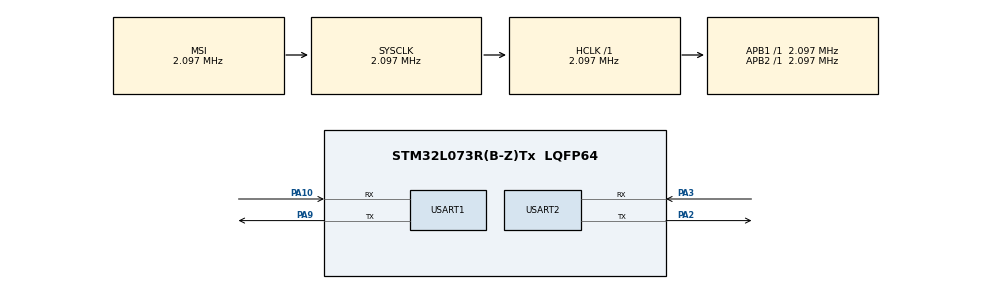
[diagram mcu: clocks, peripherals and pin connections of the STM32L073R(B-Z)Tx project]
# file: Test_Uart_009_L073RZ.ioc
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Mcu.Family=STM32L0
Mcu.Name=STM32L073R(B-Z)Tx
Mcu.Package=LQFP64
NVIC.RTC_IRQn=true\:0\:0\:false\:false\:true\:true\:true\:true
PA10.Mode=Asynchronous
PA10.Signal=USART1_RX
PA13.GPIO_Label=TMS
PA13.Mode=Serial_Wire
PA13.Signal=SYS_SWDIO
PA14.GPIO_Label=TCK
PA14.Mode=Serial_Wire
PA14.Signal=SYS_SWCLK
PA2.Mode=Asynchronous
PA2.Signal=USART2_TX
PA3.Mode=Asynchronous
PA3.Signal=USART2_RX
PA9.Mode=Asynchronous
PA9.Signal=USART1_TX
PC14-OSC32_IN.Mode=LSE-External-Oscillator
PC14-OSC32_IN.Signal=RCC_OSC32_IN
PC15-OSC32_OUT.Mode=LSE-External-Oscillator
PC15-OSC32_OUT.Signal=RCC_OSC32_OUT
PH0-OSC_IN.GPIO_Label=MCO
PH0-OSC_IN.Signal=RCC_OSC_IN
ProjectManager.HeapSize=0x200
ProjectManager.StackSize=0x400
ProjectManager.TargetToolchain=STM32CubeIDE
RCC.AHBFreq_Value=2097000
RCC.APB1Freq_Value=2097000
RCC.APB1TimFreq_Value=2097000
RCC.APB2Freq_Value=2097000
RCC.APB2TimFreq_Value=2097000
RCC.HSE_VALUE=8000000
RCC.HSI16_VALUE=16000000
RCC.HSI48_VALUE=48000000
RCC.HSI_VALUE=16000000
RCC.MSI_VALUE=2097000
RCC.RTCClockSelection=RCC_RTCCLKSOURCE_LSE
RCC.RTCClockSelectionVirtual=RCC_RTCCLKSOURCE_LSE
RCC.SYSCLKFreq_VALUE=2097000
RCC.VCOOutputFreq_Value=48000000
RTC.WakeUpClock-WakeUp=RTC_WAKEUPCLOCK_CK_SPRE_16BITS
RTC.WakeUpCounter-WakeUp=10
USART1.VirtualMode-Asynchronous=VM_ASYNC
USART2.VirtualMode-Asynchronous=VM_ASYNC
VP_RTC_VS_RTC_Activate.Mode=RTC_Enabled
VP_RTC_VS_RTC_WakeUp_intern.Mode=WakeUp
board=NUCLEO-L073RZ

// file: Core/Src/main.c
/* USER CODE BEGIN Header */
/**
  ******************************************************************************
  * @file           : main.c
  * @brief          : Main program body
  ******************************************************************************
  * @attention
  *
  * Copyright (c) 2022 STMicroelectronics.
  * All rights reserved.
  *
  * This software is licensed under terms that can be found in the LICENSE file
  * in the root directory of this software component.
  * If no LICENSE file comes with this software, it is provided AS-IS.
  *
  ******************************************************************************
  */
/* USER CODE END Header */
#include "main.h"

/* USER CODE BEGIN Includes */
#include <stdlib.h>
#include <stdio.h>
#include <string.h>
/* USER CODE END Includes */

/* USER CODE BEGIN PD */
#define UART_HANDLER				&huart2
#define UART_TX_TIMEOUT				100
#define UART_RX_TIMEOUT				300
#define UART_RX_MAX_BUFF_SIZE		49
#define UART_TX_MAX_BUFF_SIZE		49
/* USER CODE END PD */

RTC_HandleTypeDef hrtc;

UART_HandleTypeDef huart1;
UART_HandleTypeDef huart2;

/* USER CODE BEGIN PV */
HAL_StatusTypeDef 					uart_status ;
const char          				hello[] = "Hello! Test_Uart_009_L073RZ\n" ;
const char 							nl = '\n' ;
// SWARM AT Commands
const char*							gn_mostrecent_at_comm = "$GN @*67\n" ;
// SWARM AT Answers
const char*         				gn_mostrecent_answer = "$GN " ;
/* USER CODE END PV */

void SystemClock_Config(void);
static void MX_GPIO_Init(void);
static void MX_RTC_Init(void);
static void MX_USART1_UART_Init(void);
static void MX_USART2_UART_Init(void);
/* USER CODE BEGIN PFP */
uint8_t								send2uart				( UART_HandleTypeDef* , const char* , const char* ) ;
uint8_t								add_null_after_nl		( char* ) ;
/* USER CODE END PFP */

int main(void)
{

  /* MCU Configuration--------------------------------------------------------*/

  /* Reset of all peripherals, Initializes the Flash interface and the Systick. */
  HAL_Init();

  /* Configure the system clock */
  SystemClock_Config();

  /* Initialize all configured peripherals */
  MX_GPIO_Init();
  MX_RTC_Init();
  MX_USART1_UART_Init();
  MX_USART2_UART_Init();
  /* USER CODE BEGIN 2 */
  HAL_UART_Transmit ( UART_HANDLER , (uint8_t*) hello , strlen ( hello ) , UART_TX_TIMEOUT ) ;
  /* USER CODE END 2 */

  /* Infinite loop */
  /* USER CODE BEGIN WHILE */
  while (1)
  {
	  send2uart ( UART_HANDLER , gn_mostrecent_at_comm , gn_mostrecent_answer ) ;
	  HAL_Delay ( 3000 ) ;
	  HAL_PWR_EnterSTANDBYMode () ;
	  //HAL_PWR_EnterSTOPMode ( PWR_LOWPOWERREGULATOR_ON , PWR_STOPENTRY_WFI ) ;
    /* USER CODE END WHILE */

  }
}

void SystemClock_Config(void)
{
  RCC_OscInitTypeDef RCC_OscInitStruct = {0};
  RCC_ClkInitTypeDef RCC_ClkInitStruct = {0};
  RCC_PeriphCLKInitTypeDef PeriphClkInit = {0};

  /** Configure the main internal regulator output voltage
  */
  __HAL_PWR_VOLTAGESCALING_CONFIG(PWR_REGULATOR_VOLTAGE_SCALE1);

  /** Configure LSE Drive Capability
  */
  HAL_PWR_EnableBkUpAccess();
  __HAL_RCC_LSEDRIVE_CONFIG(RCC_LSEDRIVE_LOW);

  /** Initializes the RCC Oscillators according to the specified parameters
  * in the RCC_OscInitTypeDef structure.
  */
  RCC_OscInitStruct.OscillatorType = RCC_OSCILLATORTYPE_LSE|RCC_OSCILLATORTYPE_MSI;
  RCC_OscInitStruct.LSEState = RCC_LSE_ON;
  RCC_OscInitStruct.MSIState = RCC_MSI_ON;
  RCC_OscInitStruct.MSICalibrationValue = 0;
  RCC_OscInitStruct.MSIClockRange = RCC_MSIRANGE_5;
  RCC_OscInitStruct.PLL.PLLState = RCC_PLL_NONE;
  if (HAL_RCC_OscConfig(&RCC_OscInitStruct) != HAL_OK)
  {
    Error_Handler();
  }

  /** Initializes the CPU, AHB and APB buses clocks
  */
  RCC_ClkInitStruct.ClockType = RCC_CLOCKTYPE_HCLK|RCC_CLOCKTYPE_SYSCLK
                              |RCC_CLOCKTYPE_PCLK1|RCC_CLOCKTYPE_PCLK2;
  RCC_ClkInitStruct.SYSCLKSource = RCC_SYSCLKSOURCE_MSI;
  RCC_ClkInitStruct.AHBCLKDivider = RCC_SYSCLK_DIV1;
  RCC_ClkInitStruct.APB1CLKDivider = RCC_HCLK_DIV1;
  RCC_ClkInitStruct.APB2CLKDivider = RCC_HCLK_DIV1;

  if (HAL_RCC_ClockConfig(&RCC_ClkInitStruct, FLASH_LATENCY_0) != HAL_OK)
  {
    Error_Handler();
  }
  PeriphClkInit.PeriphClockSelection = RCC_PERIPHCLK_USART1|RCC_PERIPHCLK_USART2
                              |RCC_PERIPHCLK_RTC;
  PeriphClkInit.Usart1ClockSelection = RCC_USART1CLKSOURCE_PCLK2;
  PeriphClkInit.Usart2ClockSelection = RCC_USART2CLKSOURCE_PCLK1;
  PeriphClkInit.RTCClockSelection = RCC_RTCCLKSOURCE_LSE;
  if (HAL_RCCEx_PeriphCLKConfig(&PeriphClkInit) != HAL_OK)
  {
    Error_Handler();
  }
}

static void MX_RTC_Init(void)
{

  /** Initialize RTC Only
  */
  hrtc.Instance = RTC;
  hrtc.Init.HourFormat = RTC_HOURFORMAT_24;
  hrtc.Init.AsynchPrediv = 127;
  hrtc.Init.SynchPrediv = 255;
  hrtc.Init.OutPut = RTC_OUTPUT_DISABLE;
  hrtc.Init.OutPutRemap = RTC_OUTPUT_REMAP_NONE;
  hrtc.Init.OutPutPolarity = RTC_OUTPUT_POLARITY_HIGH;
  hrtc.Init.OutPutType = RTC_OUTPUT_TYPE_OPENDRAIN;
  if (HAL_RTC_Init(&hrtc) != HAL_OK)
  {
    Error_Handler();
  }

  /** Enable the WakeUp
  */
  if (HAL_RTCEx_SetWakeUpTimer_IT(&hrtc, 10, RTC_WAKEUPCLOCK_CK_SPRE_16BITS) != HAL_OK)
  {
    Error_Handler();
  }

}

static void MX_USART1_UART_Init(void)
{

  huart1.Instance = USART1;
  huart1.Init.BaudRate = 115200;
  huart1.Init.WordLength = UART_WORDLENGTH_8B;
  huart1.Init.StopBits = UART_STOPBITS_1;
  huart1.Init.Parity = UART_PARITY_NONE;
  huart1.Init.Mode = UART_MODE_TX_RX;
  huart1.Init.HwFlowCtl = UART_HWCONTROL_NONE;
  huart1.Init.OverSampling = UART_OVERSAMPLING_16;
  huart1.Init.OneBitSampling = UART_ONE_BIT_SAMPLE_DISABLE;
  huart1.AdvancedInit.AdvFeatureInit = UART_ADVFEATURE_NO_INIT;
  if (HAL_UART_Init(&huart1) != HAL_OK)
  {
    Error_Handler();
  }

}

static void MX_USART2_UART_Init(void)
{

  huart2.Instance = USART2;
  huart2.Init.BaudRate = 115200;
  huart2.Init.WordLength = UART_WORDLENGTH_8B;
  huart2.Init.StopBits = UART_STOPBITS_1;
  huart2.Init.Parity = UART_PARITY_NONE;
  huart2.Init.Mode = UART_MODE_TX_RX;
  huart2.Init.HwFlowCtl = UART_HWCONTROL_NONE;
  huart2.Init.OverSampling = UART_OVERSAMPLING_16;
  huart2.Init.OneBitSampling = UART_ONE_BIT_SAMPLE_DISABLE;
  huart2.AdvancedInit.AdvFeatureInit = UART_ADVFEATURE_NO_INIT;
  if (HAL_UART_Init(&huart2) != HAL_OK)
  {
    Error_Handler();
  }

}

static void MX_GPIO_Init(void)
{

  /* GPIO Ports Clock Enable */
  __HAL_RCC_GPIOC_CLK_ENABLE();
  __HAL_RCC_GPIOH_CLK_ENABLE();
  __HAL_RCC_GPIOA_CLK_ENABLE();

}

/* USER CODE BEGIN 4 */
/**
  * @param huart: UART handle.
  * @param at_command2send: an AT Command to be send to UART interface where peripheral is connected.
  * @param expected_at_answer AT Answer in polling mode expected quickly from the UART interface where peripheral is connected.
  * @param is_expected_at_answer: Boolean result of AT Answer verification.
  */
uint8_t send2uart ( UART_HandleTypeDef* huart , const char* at_command2send , const char* expected_at_answer )
{
	uint8_t is_expected_at_answer ;
	uint8_t i ;
	char* nl_buff ;
	char* uart_rx_buff = malloc ( ( UART_RX_MAX_BUFF_SIZE + 1 ) * sizeof (char) ) ; //+1 for the null byte at the end of string
	char* uart_tx_buff = malloc ( (UART_TX_MAX_BUFF_SIZE + 1 ) * sizeof (char) ) ; //+1 for the null byte at the end of string
	if ( uart_rx_buff == NULL || uart_tx_buff == NULL )
		exit ( 1 ) ; //Out heap memory

	for ( i = 0 ; i < 50 ; i++ ) // zamienić na zmienną
	{
		*(uart_rx_buff+i) = 0 ;
		*(uart_tx_buff+i) = 0 ;
	}

	sprintf ( uart_tx_buff , "%s" , at_command2send ) ;

	//strncpy ( uart_tx_buff , at_command2send , strlen ( at_command2send ) ) ;
	uart_status = HAL_UART_Receive ( huart , (uint8_t *) uart_rx_buff , UART_RX_MAX_BUFF_SIZE , UART_RX_TIMEOUT ) ;
	__HAL_UART_SEND_REQ ( huart , UART_RXDATA_FLUSH_REQUEST ) ; //https://community.st.com/s/question/0D53W00000oXKU2SAO/efficient-way-to-process-usartreceived-data-and-flush-rx-buffer-
	uart_status = HAL_UART_Transmit ( huart , (uint8_t *) uart_tx_buff ,  strlen ( uart_tx_buff ) , UART_TX_TIMEOUT ) ;
	*uart_rx_buff = 0 ;
	uart_status = HAL_UART_Receive ( huart , (uint8_t *) uart_rx_buff , UART_RX_MAX_BUFF_SIZE , UART_RX_TIMEOUT ) ;

	//sprintf ( uart_tx_buff , "Answer %s" , uart_rx_buff ) ;
	if ( strncmp ( uart_rx_buff , expected_at_answer , strlen ( expected_at_answer ) ) == 0 )
	{
		is_expected_at_answer = 1 ;
		//add_null after nl to avoid problem when sending to UAR
		nl_buff = strchr ( (const char*) uart_rx_buff , nl ) ;
			if ( nl_buff != NULL )
			{
				*nl_buff = 0 ;
				uart_status = HAL_UART_Transmit ( huart , (uint8_t *) uart_rx_buff ,  (uint16_t) strlen ( uart_rx_buff ) , UART_TX_TIMEOUT ) ;
			}
	}
	else
		is_expected_at_answer = 0 ;
	free ( uart_rx_buff ) ;
	free ( uart_tx_buff ) ;

	return is_expected_at_answer ;
}
uint8_t add_null_after_nl ( char* buff )
{
	uint8_t added_null = 0 ;
	char c = '\n' ;
	char* nl ;
	nl = strchr ( (const char*) buff , c ) ;
	if ( nl != NULL )
	{
		nl[0] = 0 ;
		added_null = 1 ;
	}
	else
		added_null = 0 ;
	/*
	for ( i = 0 ; i < size ; i++ )
	{
		if ( buff[i] == "\n" )
		{
			buff[ i + 1 ] == 0 ;
			added_null = 1 ;
			break ;
		}
	}
	*/
	return added_null ;
}
/* USER CODE END 4 */

void Error_Handler(void)
{
  __disable_irq();
  while (1)
  {
  }
}
